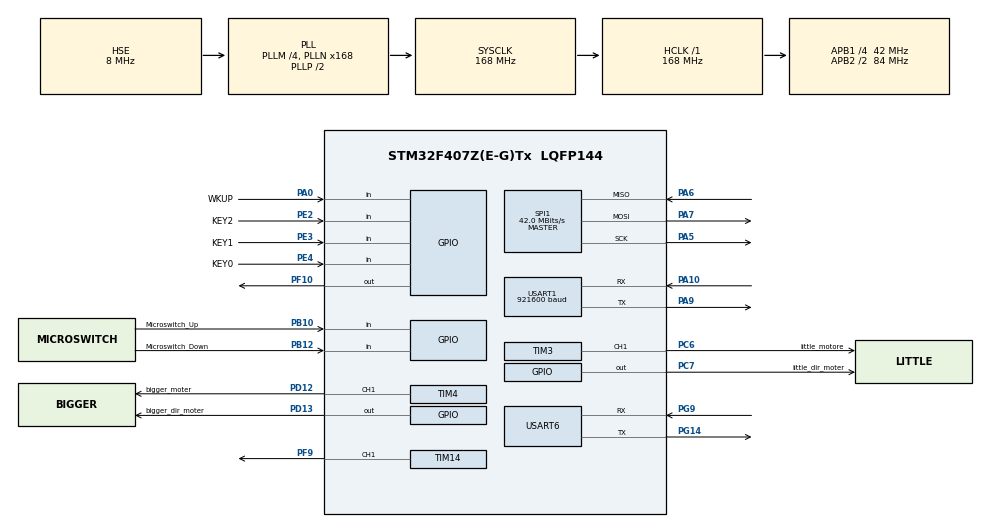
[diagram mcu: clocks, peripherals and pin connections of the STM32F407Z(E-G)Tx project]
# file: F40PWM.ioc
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Dma.Request0=USART1_TX
Dma.Request1=USART1_RX
Dma.Request2=USART6_RX
Dma.Request3=USART6_TX
Dma.USART1_RX.1.Direction=DMA_PERIPH_TO_MEMORY
Dma.USART1_RX.1.FIFOMode=DMA_FIFOMODE_DISABLE
Dma.USART1_RX.1.Instance=DMA2_Stream2
Dma.USART1_RX.1.MemDataAlignment=DMA_MDATAALIGN_BYTE
Dma.USART1_RX.1.MemInc=DMA_MINC_ENABLE
Dma.USART1_RX.1.Mode=DMA_NORMAL
Dma.USART1_RX.1.PeriphDataAlignment=DMA_PDATAALIGN_BYTE
Dma.USART1_RX.1.PeriphInc=DMA_PINC_DISABLE
Dma.USART1_RX.1.Priority=DMA_PRIORITY_LOW
Dma.USART1_TX.0.Direction=DMA_MEMORY_TO_PERIPH
Dma.USART1_TX.0.FIFOMode=DMA_FIFOMODE_DISABLE
Dma.USART1_TX.0.Instance=DMA2_Stream7
Dma.USART1_TX.0.MemDataAlignment=DMA_MDATAALIGN_BYTE
Dma.USART1_TX.0.MemInc=DMA_MINC_ENABLE
Dma.USART1_TX.0.Mode=DMA_NORMAL
Dma.USART1_TX.0.PeriphDataAlignment=DMA_PDATAALIGN_BYTE
Dma.USART1_TX.0.PeriphInc=DMA_PINC_DISABLE
Dma.USART1_TX.0.Priority=DMA_PRIORITY_VERY_HIGH
Dma.USART6_RX.2.Direction=DMA_PERIPH_TO_MEMORY
Dma.USART6_RX.2.FIFOMode=DMA_FIFOMODE_DISABLE
Dma.USART6_RX.2.Instance=DMA2_Stream1
Dma.USART6_RX.2.MemDataAlignment=DMA_MDATAALIGN_BYTE
Dma.USART6_RX.2.MemInc=DMA_MINC_ENABLE
Dma.USART6_RX.2.Mode=DMA_CIRCULAR
Dma.USART6_RX.2.PeriphDataAlignment=DMA_PDATAALIGN_BYTE
Dma.USART6_RX.2.PeriphInc=DMA_PINC_DISABLE
Dma.USART6_RX.2.Priority=DMA_PRIORITY_VERY_HIGH
Dma.USART6_TX.3.Direction=DMA_MEMORY_TO_PERIPH
Dma.USART6_TX.3.FIFOMode=DMA_FIFOMODE_DISABLE
Dma.USART6_TX.3.Instance=DMA2_Stream6
Dma.USART6_TX.3.MemDataAlignment=DMA_MDATAALIGN_BYTE
Dma.USART6_TX.3.MemInc=DMA_MINC_ENABLE
Dma.USART6_TX.3.Mode=DMA_NORMAL
Dma.USART6_TX.3.PeriphDataAlignment=DMA_PDATAALIGN_BYTE
Dma.USART6_TX.3.PeriphInc=DMA_PINC_DISABLE
Dma.USART6_TX.3.Priority=DMA_PRIORITY_LOW
IWDG.Prescaler=IWDG_PRESCALER_64
Mcu.Family=STM32F4
Mcu.Name=STM32F407Z(E-G)Tx
Mcu.Package=LQFP144
NVIC.DMA2_Stream1_IRQn=true\:0\:0\:false\:false\:true\:false\:true\:true
NVIC.DMA2_Stream2_IRQn=true\:0\:0\:false\:false\:true\:false\:true\:true
NVIC.DMA2_Stream6_IRQn=true\:0\:0\:false\:false\:true\:false\:true\:true
NVIC.DMA2_Stream7_IRQn=true\:0\:0\:false\:false\:true\:false\:true\:true
NVIC.PriorityGroup=NVIC_PRIORITYGROUP_4
NVIC.TIM3_IRQn=true\:0\:0\:false\:false\:true\:true\:true\:true
NVIC.TIM4_IRQn=true\:0\:0\:false\:false\:true\:true\:true\:true
NVIC.USART1_IRQn=true\:0\:0\:false\:false\:true\:true\:true\:true
NVIC.USART6_IRQn=true\:0\:0\:false\:false\:true\:true\:true\:true
PA0-WKUP.GPIO_Label=WKUP
PA0-WKUP.GPIO_PuPd=GPIO_PULLDOWN
PA0-WKUP.Signal=GPIO_Input
PA10.Mode=Asynchronous
PA10.Signal=USART1_RX
PA13.Mode=Serial_Wire
PA13.Signal=SYS_JTMS-SWDIO
PA14.Mode=Serial_Wire
PA14.Signal=SYS_JTCK-SWCLK
PA5.Mode=Full_Duplex_Master
PA5.Signal=SPI1_SCK
PA6.Mode=Full_Duplex_Master
PA6.Signal=SPI1_MISO
PA7.Mode=Full_Duplex_Master
PA7.Signal=SPI1_MOSI
PA9.Mode=Asynchronous
PA9.Signal=USART1_TX
PB10.GPIO_Label=Microswitch_Up
PB10.GPIO_PuPd=GPIO_PULLUP
PB10.Signal=GPIO_Input
PB12.GPIO_Label=Microswitch_Down
PB12.GPIO_PuPd=GPIO_PULLUP
PB12.Signal=GPIO_Input
PC6.GPIO_Label=little_motore
PC6.Signal=S_TIM3_CH1
PC7.GPIO_Label=little_dir_moter
PC7.GPIO_PuPd=GPIO_PULLDOWN
PC7.Signal=GPIO_Output
PD12.GPIO_Label=bigger_moter
PD12.Signal=S_TIM4_CH1
PD13.GPIO_Label=bigger_dir_moter
PD13.GPIO_PuPd=GPIO_PULLDOWN
PD13.Signal=GPIO_Output
PE2.GPIO_Label=KEY2
PE2.GPIO_PuPd=GPIO_PULLUP
PE2.Signal=GPIO_Input
PE3.GPIO_Label=KEY1
PE3.GPIO_PuPd=GPIO_PULLUP
PE3.Signal=GPIO_Input
PE4.GPIO_Label=KEY0
PE4.GPIO_PuPd=GPIO_PULLUP
PE4.Signal=GPIO_Input
PF10.GPIO_PuPd=GPIO_PULLUP
PF10.Signal=GPIO_Output
PF9.Signal=S_TIM14_CH1
PG14.Mode=Asynchronous
PG14.Signal=USART6_TX
PG9.Mode=Asynchronous
PG9.Signal=USART6_RX
PH0-OSC_IN.Mode=HSE-External-Oscillator
PH0-OSC_IN.Signal=RCC_OSC_IN
PH1-OSC_OUT.Mode=HSE-External-Oscillator
PH1-OSC_OUT.Signal=RCC_OSC_OUT
ProjectManager.HeapSize=0x200
ProjectManager.StackSize=0x400
ProjectManager.TargetToolchain=CMake
RCC.48MHZClocksFreq_Value=84000000
RCC.AHBFreq_Value=168000000
RCC.APB1CLKDivider=RCC_HCLK_DIV4
RCC.APB1Freq_Value=42000000
RCC.APB1TimFreq_Value=84000000
RCC.APB2CLKDivider=RCC_HCLK_DIV2
RCC.APB2Freq_Value=84000000
RCC.APB2TimFreq_Value=168000000
RCC.CortexFreq_Value=168000000
RCC.HCLKFreq_Value=168000000
RCC.HSE_VALUE=8000000
RCC.HSI_VALUE=16000000
RCC.LSE_VALUE=32768
RCC.PLLM=4
RCC.PLLN=168
RCC.PLLSourceVirtual=RCC_PLLSOURCE_HSE
RCC.SYSCLKFreq_VALUE=168000000
RCC.SYSCLKSource=RCC_SYSCLKSOURCE_PLLCLK
RCC.VCOOutputFreq_Value=336000000
SH.S_TIM14_CH1.0=TIM14_CH1,Output Compare1 CH1
SH.S_TIM3_CH1.0=TIM3_CH1,Output Compare1 CH1
SH.S_TIM4_CH1.0=TIM4_CH1,PWM Generation1 CH1
SPI1.BaudRatePrescaler=SPI_BAUDRATEPRESCALER_2
SPI1.CalculateBaudRate=42.0 MBits/s
SPI1.Direction=SPI_DIRECTION_2LINES
SPI1.Mode=SPI_MODE_MASTER
SPI1.VirtualType=VM_MASTER
TIM14.Channel=TIM_CHANNEL_1
TIM14.Period=99
TIM14.Prescaler=83
TIM3.Channel-Output\ Compare1\ CH1=TIM_CHANNEL_1
TIM3.Period=199
TIM3.Prescaler=83
TIM3.Pulse-Output\ Compare1\ CH1=50
TIM4.Channel-PWM\ Generation1\ CH1=TIM_CHANNEL_1
TIM4.Period=999
TIM4.Prescaler=83
USART1.BaudRate=921600
USART1.VirtualMode=VM_ASYNC
USART6.VirtualMode=VM_ASYNC
VP_IWDG_VS_IWDG.Mode=IWDG_Activate
VP_TIM14_VS_ClockSourceINT.Mode=Enable_Timer
VP_TIM3_VS_ClockSourceINT.Mode=Internal
VP_TIM4_VS_ClockSourceINT.Mode=Internal
board=custom

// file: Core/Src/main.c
/* USER CODE BEGIN Header */
/**
  ******************************************************************************
  * @file           : main.c
  * @brief          : Main program body
  ******************************************************************************
  * @attention
  *
  * Copyright (c) 2026 STMicroelectronics.
  * All rights reserved.
  *
  * This software is licensed under terms that can be found in the LICENSE file
  * in the root directory of this software component.
  * If no LICENSE file comes with this software, it is provided AS-IS.
  *
  ******************************************************************************
  */
/* USER CODE END Header */
#include "main.h"
#include "dma.h"
#include "iwdg.h"
#include "spi.h"
#include "tim.h"
#include "usart.h"
#include "gpio.h"

/* USER CODE BEGIN Includes */
#include "delay.h"
#include "usart.h"   // 确保能找到 huart1
#include "rplidar_c1.h" // 包含 RPLIDAR 库头文件
#include "string.h"
#include "key.h"
#include <stdbool.h>
#include <stdint.h>
#include <stdio.h>
#include "motor_ctrl.h"
#include "Ball_screw_contrl.h"
#include "data_pro.h"
/* USER CODE END Includes */

/* USER CODE BEGIN PTD */
uint32_t key=0;
/* USER CODE END PTD */

/* USER CODE BEGIN PD */
// 重写 _write 函数 (GCC/STM32CubeIDE 专用)
int _write(int file, char *ptr, int len)
{
    // 使用阻塞模式发送，确保数据发送完成
    // 注意：不要在这里使用 DMA，因为 printf 调用频率高时 DMA 会因为 BUSY 而丢包
    HAL_UART_Transmit(&huart1, (uint8_t *)ptr, len, 1000);
    return len;
}
/* USER CODE END PD */

/* USER CODE BEGIN PV */
RPLIDAR_Handle_t hlidar; // 定义雷达控制句柄
extern DMA_HandleTypeDef hdma_usart6_rx;
extern DMA_HandleTypeDef hdma_usart6_tx;

extern int objects_fed_count;              // 告诉外部有多少个有效物体
extern bool data_is_ready;             // 可选：数据更新完成标志
extern LidarObject_t objects_fed[MAX_OBJECTS];// 用于存储识别到的物体信息
/* USER CODE END PV */

void SystemClock_Config(void);

int main(void)
{

  /* MCU Configuration--------------------------------------------------------*/

  /* Reset of all peripherals, Initializes the Flash interface and the Systick. */
  HAL_Init();

  /* Configure the system clock */
  SystemClock_Config();

  /* Initialize all configured peripherals */
  MX_GPIO_Init();
  MX_DMA_Init();
  MX_SPI1_Init();
  MX_USART1_UART_Init();
  MX_TIM14_Init();
  MX_TIM3_Init();
  MX_TIM4_Init();
  MX_USART6_UART_Init();
  MX_IWDG_Init();
  /* USER CODE BEGIN 2 */
  delay_init(168);// 初始化延时函数，参数为系统时钟频率MHz
  // &hdma_usart6_rx: 串口2的DMA接收句柄 (去 usart.c 或 usart.h 确认名字，通常是这个)
  RPLIDAR_Init(&hlidar, &huart6, &huart1, &hdma_usart6_rx);
 // Ball_Screw_init(); // 初始化滚珠丝杠
  RPLIDAR_StartScan(&hlidar);//* 启动雷达扫描 */
 // HAL_Delay(500); // 给它一点时间反应
  if (__HAL_RCC_GET_FLAG(RCC_FLAG_IWDGRST) != RESET)
  {
    // 这里的字符串就是你要的信息
    printf("\r\n===================================\r\n");
    printf("[警告] 系统刚刚因为看门狗超时(死机)而重启！\r\n");
    printf("===================================\r\n");

    delay_ms(1000);
    __HAL_RCC_CLEAR_RESET_FLAGS();
  }
  else
  {
    printf("\r\n[信息] 系统正常上电启动。\r\n");
  }

  // 2. 启动 DMA 接收 (这一步非常重要，你的库底层应该封装了 HAL_UART_Receive_DMA)
  // 如果 RPLIDAR_Init 里没调用 HAL_UART_Receive_DMA，你需要在这里手动调用：
  // 注意：看你的库函数 RPLIDAR_StartScan 内部实现，通常它会发指令并启动接收。

  printf("Before UART transmission\r\n");
  HAL_UART_Transmit(&huart1, (uint8_t*)"Test message.\r\n", 15, HAL_MAX_DELAY);
  printf("After UART transmission\r\n");

  /* USER CODE END 2 */

  /* Infinite loop */
  while (1)
  {

    /* USER CODE BEGIN 3 */
    RPLIDAR_Process(&hlidar); // 定期调用雷达处理函数
    //data_collect(writing_ptr, ready_point_count);
    Lidar_Analyze_Objects(reading_ptr, ready_point_count);
    other_prtocess(objects_fed_count,objects_fed,data_is_ready);
    key = key_scan(0);
    if(key==KEY0_PRES){
      RPLIDAR_StartScan(&hlidar);//启动雷达信息
      printf("Start Scan\r\n");
    }else if(key==KEY1_PRES){
      //  Ball_Screw_move_a_step(0); // 滚珠丝杠反转一步{
      RPLIDAR_StopScan(&hlidar);//停止雷达信息
      printf("Stop Scan\r\n");
    }
    HAL_IWDG_Refresh(&hiwdg); // 喂狗
  }
  /* USER CODE END 3 */
}

void SystemClock_Config(void)
{
  RCC_OscInitTypeDef RCC_OscInitStruct = {0};
  RCC_ClkInitTypeDef RCC_ClkInitStruct = {0};

  /** Configure the main internal regulator output voltage
  */
  __HAL_RCC_PWR_CLK_ENABLE();
  __HAL_PWR_VOLTAGESCALING_CONFIG(PWR_REGULATOR_VOLTAGE_SCALE1);

  /** Initializes the RCC Oscillators according to the specified parameters
  * in the RCC_OscInitTypeDef structure.
  */
  RCC_OscInitStruct.OscillatorType = RCC_OSCILLATORTYPE_LSI|RCC_OSCILLATORTYPE_HSE;
  RCC_OscInitStruct.HSEState = RCC_HSE_ON;
  RCC_OscInitStruct.LSIState = RCC_LSI_ON;
  RCC_OscInitStruct.PLL.PLLState = RCC_PLL_ON;
  RCC_OscInitStruct.PLL.PLLSource = RCC_PLLSOURCE_HSE;
  RCC_OscInitStruct.PLL.PLLM = 4;
  RCC_OscInitStruct.PLL.PLLN = 168;
  RCC_OscInitStruct.PLL.PLLP = RCC_PLLP_DIV2;
  RCC_OscInitStruct.PLL.PLLQ = 4;
  if (HAL_RCC_OscConfig(&RCC_OscInitStruct) != HAL_OK)
  {
    Error_Handler();
  }

  /** Initializes the CPU, AHB and APB buses clocks
  */
  RCC_ClkInitStruct.ClockType = RCC_CLOCKTYPE_HCLK|RCC_CLOCKTYPE_SYSCLK
                              |RCC_CLOCKTYPE_PCLK1|RCC_CLOCKTYPE_PCLK2;
  RCC_ClkInitStruct.SYSCLKSource = RCC_SYSCLKSOURCE_PLLCLK;
  RCC_ClkInitStruct.AHBCLKDivider = RCC_SYSCLK_DIV1;
  RCC_ClkInitStruct.APB1CLKDivider = RCC_HCLK_DIV4;
  RCC_ClkInitStruct.APB2CLKDivider = RCC_HCLK_DIV2;

  if (HAL_RCC_ClockConfig(&RCC_ClkInitStruct, FLASH_LATENCY_5) != HAL_OK)
  {
    Error_Handler();
  }
}

/* USER CODE BEGIN 4 */
// 当串口接收中断发生时（收到一个字节），HAL库会自动调用这个函数
void HAL_UART_RxCpltCallback(UART_HandleTypeDef *huart)
{
  // 将中断事件传递给雷达库处理
  // 假设你的雷达句柄叫 hlidar (在 main.c 顶部定义的那个)
  RPLIDAR_RxCallback(&hlidar, huart);
}

// void HAL_UART_ErrorCallback(UART_HandleTypeDef *huart)
// {
//     // 判断是不是雷达的串口 (假设是 huart6)
//     // 如果你的雷达是 huart2，请改为 huart2
//     if (huart->Instance == USART6)
//     {
//         // 1. 发生错误了（比如 Overrun），先停止之前的 DMA
//         HAL_UART_DMAStop(huart);

//         // 2. 重新开启 DMA 接收！(这步最关键，让它继续干活)
//         // 注意：这里需要引用你的全局变量 hlidar
//         extern RPLIDAR_Handle_t hlidar;

//         // 重新启动接收，覆盖缓冲区
//         HAL_UART_Receive_DMA(huart, hlidar.dma_buffer, LIDAR_DMA_BUFFER_SIZE);

//         // 可选：重置读指针，防止处理脏数据
//         // hlidar.dma_read_index = 0;
//     }
// }

void HAL_UART_ErrorCallback(UART_HandleTypeDef *huart)
{
    if (huart->Instance == USART6)
    {
        uint32_t isrflags = huart->Instance->SR; // 读取状态寄存器

        // 检查各种错误标志 (ORE:溢出, NE:噪声, FE:帧错误, PE:校验错误)
        if ((isrflags & (UART_FLAG_ORE | UART_FLAG_NE | UART_FLAG_FE | UART_FLAG_PE)) != RESET)
        {
            // 读取 DR 寄存器通常可以清除这些错误标志 (STM32 F4/F1 特性)
            // 或者使用宏清除
            __HAL_UART_CLEAR_OREFLAG(huart);
            __HAL_UART_CLEAR_NEFLAG(huart);
            __HAL_UART_CLEAR_FEFLAG(huart);
            __HAL_UART_CLEAR_PEFLAG(huart);
            // 遇到严重错误，建议强行重启 DMA
            // 先停止，以防万一
            HAL_UART_DMAStop(huart);
            // 重新开始接收
            HAL_UART_Receive_DMA(huart, hlidar.dma_buffer, LIDAR_DMA_BUFFER_SIZE);
        }
    }
}
/* USER CODE END 4 */

void Error_Handler(void)
{
  __disable_irq();
  while (1)
  {
  }
}
